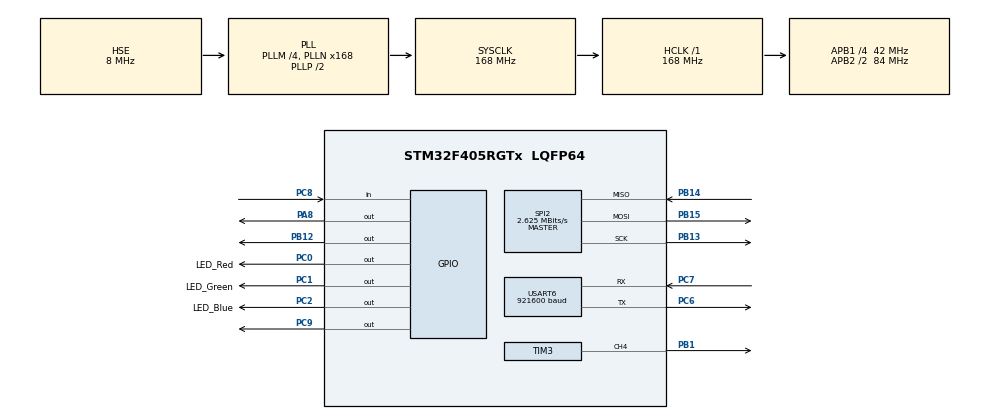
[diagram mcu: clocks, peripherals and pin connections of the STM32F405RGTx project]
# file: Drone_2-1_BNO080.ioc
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Mcu.Family=STM32F4
Mcu.Name=STM32F405RGTx
Mcu.Package=LQFP64
NVIC.PriorityGroup=NVIC_PRIORITYGROUP_4
NVIC.USART6_IRQn=true\:0\:0\:false\:false\:true\:true\:true\:true
PA8.Signal=GPIO_Output
PB1.Signal=S_TIM3_CH4
PB12.Signal=GPIO_Output
PB13.Mode=Full_Duplex_Master
PB13.Signal=SPI2_SCK
PB14.Mode=Full_Duplex_Master
PB14.Signal=SPI2_MISO
PB15.Mode=Full_Duplex_Master
PB15.Signal=SPI2_MOSI
PC0.GPIO_Label=LED_Red
PC0.Signal=GPIO_Output
PC1.GPIO_Label=LED_Green
PC1.Signal=GPIO_Output
PC2.GPIO_Label=LED_Blue
PC2.Signal=GPIO_Output
PC6.Mode=Asynchronous
PC6.Signal=USART6_TX
PC7.Mode=Asynchronous
PC7.Signal=USART6_RX
PC8.Signal=GPIO_Input
PC9.Signal=GPIO_Output
PH0-OSC_IN.Mode=HSE-External-Oscillator
PH0-OSC_IN.Signal=RCC_OSC_IN
PH1-OSC_OUT.Mode=HSE-External-Oscillator
PH1-OSC_OUT.Signal=RCC_OSC_OUT
ProjectManager.HeapSize=0x200
ProjectManager.StackSize=0x400
ProjectManager.TargetToolchain=STM32CubeIDE
RCC.48MHZClocksFreq_Value=84000000
RCC.AHBFreq_Value=168000000
RCC.APB1CLKDivider=RCC_HCLK_DIV4
RCC.APB1Freq_Value=42000000
RCC.APB1TimFreq_Value=84000000
RCC.APB2CLKDivider=RCC_HCLK_DIV2
RCC.APB2Freq_Value=84000000
RCC.APB2TimFreq_Value=168000000
RCC.CortexFreq_Value=168000000
RCC.HCLKFreq_Value=168000000
RCC.HSE_VALUE=8000000
RCC.HSI_VALUE=16000000
RCC.LSE_VALUE=32768
RCC.PLLM=4
RCC.PLLN=168
RCC.PLLSourceVirtual=RCC_PLLSOURCE_HSE
RCC.SYSCLKFreq_VALUE=168000000
RCC.SYSCLKSource=RCC_SYSCLKSOURCE_PLLCLK
RCC.VCOOutputFreq_Value=336000000
SH.S_TIM3_CH4.0=TIM3_CH4,PWM Generation4 CH4
SPI2.BaudRatePrescaler=SPI_BAUDRATEPRESCALER_16
SPI2.CLKPhase=SPI_PHASE_2EDGE
SPI2.CLKPolarity=SPI_POLARITY_HIGH
SPI2.CalculateBaudRate=2.625 MBits/s
SPI2.Direction=SPI_DIRECTION_2LINES
SPI2.Mode=SPI_MODE_MASTER
SPI2.VirtualType=VM_MASTER
TIM3.AutoReloadPreload=TIM_AUTORELOAD_PRELOAD_ENABLE
TIM3.Channel-PWM\ Generation4\ CH4=TIM_CHANNEL_4
TIM3.OCFastMode_PWM-PWM\ Generation4\ CH4=TIM_OCFAST_ENABLE
TIM3.Period=21-1
TIM3.Prescaler=1000-1
TIM3.Pulse-PWM\ Generation4\ CH4=11-1
USART6.BaudRate=921600
USART6.VirtualMode=VM_ASYNC
VP_TIM3_VS_ClockSourceINT.Mode=Internal
board=custom

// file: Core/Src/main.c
/* USER CODE BEGIN Header */
/**
  ******************************************************************************
  * @file           : main.c
  * @brief          : Main program body
  ******************************************************************************
  * @attention
  *
  * Copyright (c) 2024 STMicroelectronics.
  * All rights reserved.
  *
  * This software is licensed under terms that can be found in the LICENSE file
  * in the root directory of this software component.
  * If no LICENSE file comes with this software, it is provided AS-IS.
  *
  ******************************************************************************
  */
/* USER CODE END Header */
#include "main.h"
#include "spi.h"
#include "tim.h"
#include "usart.h"
#include "gpio.h"

/* USER CODE BEGIN Includes */
#include "BNO080.h"
#include "Quaternion.h"
/* USER CODE END Includes */

/* USER CODE BEGIN PTD */

int _write(int file, char *p, int len) {
	HAL_UART_Transmit(&huart6, p, len, 1);
	return len;
}

/* USER CODE END PTD */

/* USER CODE BEGIN PV */
uint8_t rxBuffer;
/* USER CODE END PV */

void SystemClock_Config(void);

int main(void)
{

  /* USER CODE BEGIN 1 */
	float q[4];
	float quatRadianAccuracy;
  /* USER CODE END 1 */

  /* MCU Configuration--------------------------------------------------------*/

  /* Reset of all peripherals, Initializes the Flash interface and the Systick. */
  HAL_Init();

  /* Configure the system clock */
  SystemClock_Config();

  /* Initialize all configured peripherals */
  MX_GPIO_Init();
  MX_TIM3_Init();
  MX_USART6_UART_Init();
  MX_SPI2_Init();
  /* USER CODE BEGIN 2 */

  HAL_TIM_PWM_Start(&htim3, TIM_CHANNEL_4);

  htim3.Instance->PSC=2000;
  HAL_Delay(100);
  htim3.Instance->PSC=1500;
  HAL_Delay(100);
  htim3.Instance->PSC=1000;
  HAL_Delay(100);

  HAL_TIM_PWM_Stop(&htim3, TIM_CHANNEL_4);

  HAL_UART_Receive_IT(&huart6, &rxBuffer, 1);

  BNO080_Initialization();
  BNO080_enableRotationVector(2500);

  /* USER CODE END 2 */

  /* Infinite loop */
  /* USER CODE BEGIN WHILE */
  while (1)
  {
	  if(BNO080_dataAvailable()==1)
	  {
		   q[0] = BNO080_getQuatI();
		   q[1] = BNO080_getQuatJ();
		   q[2] = BNO080_getQuatK();
		   q[3] = BNO080_getQuatReal();
		   quatRadianAccuracy = BNO080_getQuatAccuracy();

		   Quaternion_Update(&q[0]);

		   printf("%d,%d,%d\n", (int)(BNO080_Roll*100),(int)(BNO080_Pitch*100), (int)(BNO080_Yaw*100));
	  }
    /* USER CODE END WHILE */

  }
}

void SystemClock_Config(void)
{
  RCC_OscInitTypeDef RCC_OscInitStruct = {0};
  RCC_ClkInitTypeDef RCC_ClkInitStruct = {0};

  /** Configure the main internal regulator output voltage
  */
  __HAL_RCC_PWR_CLK_ENABLE();
  __HAL_PWR_VOLTAGESCALING_CONFIG(PWR_REGULATOR_VOLTAGE_SCALE1);

  /** Initializes the RCC Oscillators according to the specified parameters
  * in the RCC_OscInitTypeDef structure.
  */
  RCC_OscInitStruct.OscillatorType = RCC_OSCILLATORTYPE_HSE;
  RCC_OscInitStruct.HSEState = RCC_HSE_ON;
  RCC_OscInitStruct.PLL.PLLState = RCC_PLL_ON;
  RCC_OscInitStruct.PLL.PLLSource = RCC_PLLSOURCE_HSE;
  RCC_OscInitStruct.PLL.PLLM = 4;
  RCC_OscInitStruct.PLL.PLLN = 168;
  RCC_OscInitStruct.PLL.PLLP = RCC_PLLP_DIV2;
  RCC_OscInitStruct.PLL.PLLQ = 4;
  if (HAL_RCC_OscConfig(&RCC_OscInitStruct) != HAL_OK)
  {
    Error_Handler();
  }

  /** Initializes the CPU, AHB and APB buses clocks
  */
  RCC_ClkInitStruct.ClockType = RCC_CLOCKTYPE_HCLK|RCC_CLOCKTYPE_SYSCLK
                              |RCC_CLOCKTYPE_PCLK1|RCC_CLOCKTYPE_PCLK2;
  RCC_ClkInitStruct.SYSCLKSource = RCC_SYSCLKSOURCE_PLLCLK;
  RCC_ClkInitStruct.AHBCLKDivider = RCC_SYSCLK_DIV1;
  RCC_ClkInitStruct.APB1CLKDivider = RCC_HCLK_DIV4;
  RCC_ClkInitStruct.APB2CLKDivider = RCC_HCLK_DIV2;

  if (HAL_RCC_ClockConfig(&RCC_ClkInitStruct, FLASH_LATENCY_5) != HAL_OK)
  {
    Error_Handler();
  }
}

/* USER CODE BEGIN 4 */
void HAL_UART_RxCpltCallback(UART_HandleTypeDef *huart){
	if(huart->Instance == USART6){
		HAL_UART_Receive_IT(&huart6, &rxBuffer, 1);
	  	HAL_UART_Transmit(&huart6, &rxBuffer, 1, 0);
	}
}
/* USER CODE END 4 */

void Error_Handler(void)
{
  __disable_irq();
  while (1)
  {
  }
}
